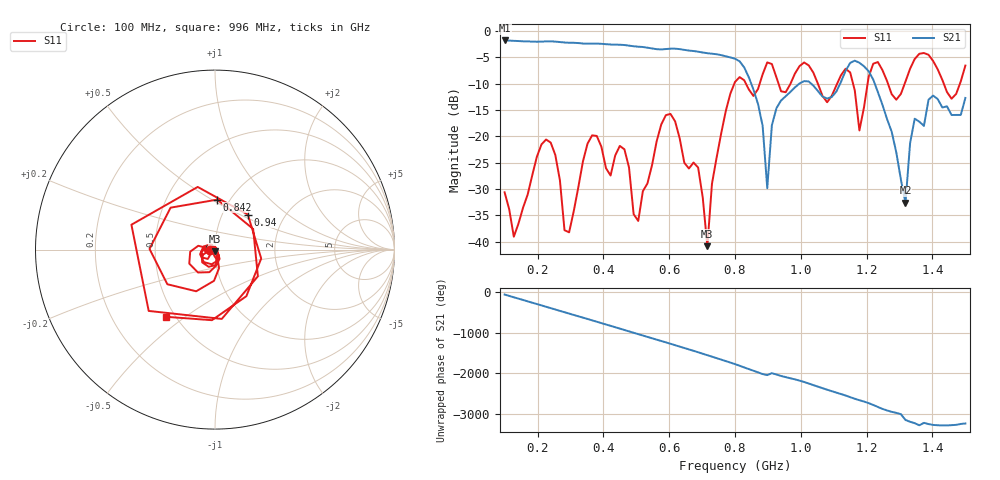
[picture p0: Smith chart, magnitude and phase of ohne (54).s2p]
! NanoVNA-App
! Date: 2025-09-25 14:21:13
! Start: 100MHz Stop: 1,5GHz Points: 101
! S-Parameter data: F S11 S21 S12 S22
# Hz S RI R 50
!  Frequency  S11_Real  S11_Imag  S21_Real  S21_Imag  S12_Real  S12_Imag  S22_Real  S22_Imag
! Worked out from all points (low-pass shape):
!   101 points, 100 MHz to 1.5 GHz, reference 50 ohm
!   highest |S21| = -1.79 dB at 100 MHz (marker M1); lowest = -32.6 dB at 1.318 GHz (marker M2)
!   |S21| within 3 dB of the highest: start of sweep to 771.6 MHz
!   lowest |S11| = -40.9 dB at 716 MHz (marker M3), VSWR 1.02, Z = 49.9 - j0.892 ohm
!   |S11| at or under -10 dB: start of sweep to 797.9 MHz; 833.2 MHz to 875.1 MHz (41.91 MHz wide, 4.91 % of centre); 1.052 GHz to 1.11 GHz (58.62 MHz wide, 5.42 % of centre) (the widest 3 of 7)
!   S12 and S22 are empty: the file has one direction only
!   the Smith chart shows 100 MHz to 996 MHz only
!   S11 on the Smith chart (normalised r, x): 100 MHz: 0.94, -0.01; 842 MHz: 0.88, +0.53; 940 MHz: 1.31, +0.55; 996 MHz: 0.44, -0.42
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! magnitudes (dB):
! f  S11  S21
! 100 MHz  -30.6  -1.8
! 128 MHz  -39.1  -1.9
! 226 MHz  -20.6  -2.0
! 296 MHz  -38.2  -2.2
! 338 MHz  -24.8  -2.4
! 464 MHz  -22.5  -2.7
! 506 MHz  -36.1  -3.0
! 576 MHz  -17.7  -3.5
! 688 MHz  -25.9  -3.9
! 716 MHz  -40.9  -4.2
! 800 MHz  -9.7  -5.3
! 842 MHz  -11.1  -8.8
! 898 MHz  -6.0  -29.9
! 940 MHz  -11.4  -13.2
! 996 MHz  -6.7  -10.0
! 1.038 GHz  -7.9  -10.4
! 1.178 GHz  -18.9  -6.0
! 1.22 GHz  -6.2  -9.2
! 1.276 GHz  -12.0  -19.1
! 1.318 GHz  -9.6  -32.6
! 1.346 GHz  -5.3  -16.7
! 1.5 GHz  -6.6  -12.7
